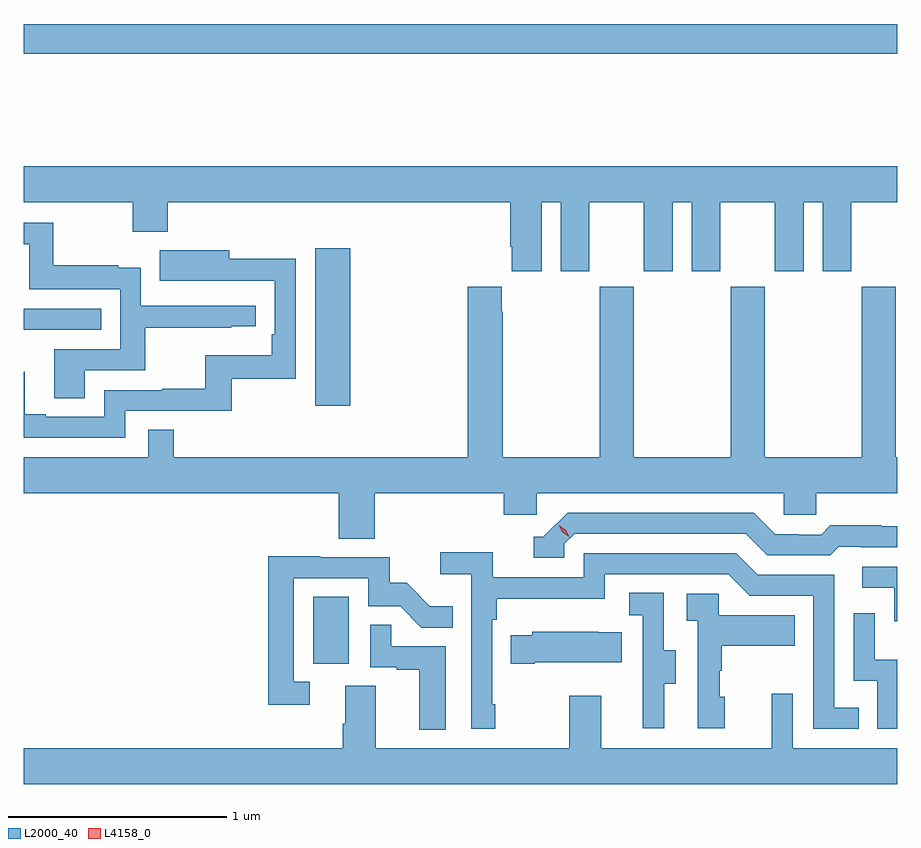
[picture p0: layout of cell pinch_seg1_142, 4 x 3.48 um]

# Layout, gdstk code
import gdstk
lib = gdstk.Library(unit=1e-6, precision=1e-09)
def R(c, l, rs):  # rectangles x0, y0, x1, y1
    for r in rs: c.add(gdstk.rectangle(r[:2], r[2:], *l))
def P(c, l, *ps):  # polygons
    for p in ps: c.add(gdstk.Polygon(p, *l))
L2000_40 = (2000, 40)
L4158_0 = (4158, 0)

pinch_seg1_142 = lib.new_cell('pinch_seg1_142')
R(pinch_seg1_142, L2000_40, [(1120.142,561.606,1120.306,561.913), (1120.151,562.788,1120.312,563.509), (1118.817,563.136,1119.173,563.232), (1118.817,564.4,1122.817,564.536)])
P(pinch_seg1_142, L2000_40, [(1121.188,563.72),(1121.276,563.72),(1121.276,563.403),(1121.407,563.403),(1121.407,563.72),(1121.657,563.72),(1121.657,563.403),(1121.788,563.403),(1121.788,563.72),(1121.876,563.72),(1121.876,563.403),(1122.007,563.403),(1122.007,563.72),(1122.257,563.72),(1122.257,563.403),(1122.388,563.403),(1122.388,563.72),(1122.476,563.72),(1122.476,563.403),(1122.607,563.403),(1122.607,563.72),(1122.817,563.72),(1122.817,563.884),(1118.817,563.884),(1118.817,563.72),(1119.316,563.72),(1119.316,563.585),(1119.476,563.585),(1119.476,563.72),(1121.045,563.72),(1121.045,563.515),(1121.051,563.515),(1121.051,563.403),(1121.188,563.403)],
  [(1119.097,562.95),(1119.374,562.95),(1119.374,563.146),(1119.767,563.146),(1119.767,563.151),(1119.88,563.151),(1119.88,563.247),(1119.354,563.247),(1119.354,563.419),(1119.251,563.419),(1119.251,563.431),(1118.953,563.431),(1118.953,563.625),(1118.817,563.625),(1118.817,563.528),(1118.842,563.528),(1118.842,563.322),(1119.258,563.322),(1119.258,563.046),(1118.957,563.046),(1118.957,562.822),(1119.097,562.822)],
  [(1119.282,562.764),(1119.769,562.764),(1119.769,562.911),(1120.062,562.911),(1120.062,563.462),(1119.757,563.462),(1119.757,563.5),(1119.439,563.5),(1119.439,563.36),(1119.653,563.36),(1119.653,563.361),(1119.966,563.361),(1119.966,563.116),(1119.953,563.116),(1119.953,563.02),(1119.648,563.02),(1119.648,562.865),(1119.451,562.865),(1119.451,562.86),(1119.186,562.86),(1119.186,562.737),(1118.917,562.737),(1118.917,562.75),(1118.821,562.75),(1118.821,562.943),(1118.817,562.943),(1118.817,562.641),(1119.282,562.641)],
  [(1120.424,562.388),(1121.015,562.388),(1121.015,562.29),(1121.166,562.29),(1121.166,562.388),(1122.297,562.388),(1122.297,562.29),(1122.447,562.29),(1122.447,562.388),(1122.817,562.388),(1122.817,562.552),(1122.81,562.552),(1122.81,563.332),(1122.655,563.332),(1122.655,562.552),(1122.21,562.552),(1122.21,563.332),(1122.055,563.332),(1122.055,562.552),(1121.61,562.552),(1121.61,563.332),(1121.455,563.332),(1121.455,562.552),(1121.01,562.552),(1121.01,563.219),(1121.005,563.219),(1121.005,563.332),(1120.85,563.332),(1120.85,562.552),(1119.503,562.552),(1119.503,562.679),(1119.387,562.679),(1119.387,562.552),(1118.817,562.552),(1118.817,562.388),(1120.259,562.388),(1120.259,562.18),(1120.424,562.18)],
  [(1121.292,562.155),(1121.34,562.203),(1122.123,562.203),(1122.222,562.104),(1122.511,562.104),(1122.55,562.143),(1122.649,562.143),(1122.649,562.14),(1122.817,562.14),(1122.817,562.237),(1122.744,562.237),(1122.744,562.24),(1122.511,562.24),(1122.469,562.197),(1122.366,562.197),(1122.366,562.2),(1122.259,562.2),(1122.16,562.299),(1121.307,562.299),(1121.196,562.188),(1121.153,562.188),(1121.153,562.092),(1121.292,562.092)],
  [(1120.975,561.421),(1120.962,561.421),(1120.962,561.809),(1120.982,561.809),(1120.982,561.905),(1121.478,561.905),(1121.478,562.017),(1122.042,562.017),(1122.141,561.918),(1122.432,561.918),(1122.432,561.309),(1122.641,561.309),(1122.641,561.405),(1122.528,561.405),(1122.528,562.014),(1122.178,562.014),(1122.079,562.113),(1121.382,562.113),(1121.382,562.002),(1120.964,562.002),(1120.964,562.118),(1120.725,562.118),(1120.725,562.016),(1120.866,562.016),(1120.866,561.309),(1120.975,561.309)],
  [(1120.126,561.525),(1120.053,561.525),(1120.053,561.999),(1120.395,561.999),(1120.395,561.87),(1120.54,561.87),(1120.638,561.772),(1120.781,561.772),(1120.781,561.871),(1120.677,561.871),(1120.57,561.978),(1120.494,561.978),(1120.494,562.095),(1120.175,562.095),(1120.175,562.1),(1119.937,562.1),(1119.937,561.42),(1120.126,561.42)],
  [(1122.817,562.05),(1122.657,562.05),(1122.657,561.954),(1122.804,561.954),(1122.804,561.801),(1122.817,561.801)],
  [(1121.749,561.514),(1121.803,561.514),(1121.803,561.669),(1121.748,561.669),(1121.748,561.932),(1121.589,561.932),(1121.589,561.829),(1121.652,561.829),(1121.652,561.525),(1121.651,561.525),(1121.651,561.312),(1121.749,561.312)],
  [(1122.028,561.456),(1122.003,561.456),(1122.003,561.575),(1122.013,561.575),(1122.013,561.689),(1122.347,561.689),(1122.347,561.829),(1122,561.829),(1122,561.927),(1121.853,561.927),(1121.853,561.803),(1121.904,561.803),(1121.904,561.312),(1122.028,561.312)],
  [(1122.817,561.626),(1122.714,561.626),(1122.714,561.838),(1122.618,561.838),(1122.618,561.528),(1122.726,561.528),(1122.726,561.309),(1122.817,561.309)],
  [(1120.75,561.687),(1120.499,561.687),(1120.499,561.785),(1120.404,561.785),(1120.404,561.591),(1120.525,561.591),(1120.525,561.579),(1120.628,561.579),(1120.628,561.305),(1120.75,561.305)],
  [(1121.158,561.614),(1121.555,561.614),(1121.555,561.751),(1121.447,561.751),(1121.447,561.754),(1121.145,561.754),(1121.145,561.736),(1121.047,561.736),(1121.047,561.607),(1121.158,561.607)],
  [(1122.817,561.22),(1122.339,561.22),(1122.339,561.469),(1122.242,561.469),(1122.242,561.22),(1121.461,561.22),(1121.461,561.46),(1121.314,561.46),(1121.314,561.22),(1120.429,561.22),(1120.429,561.506),(1120.289,561.506),(1120.289,561.332),(1120.277,561.332),(1120.277,561.22),(1118.817,561.22),(1118.817,561.056),(1122.817,561.056)])
P(pinch_seg1_142, L4158_0, [(1121.316,562.188),(1121.284,562.208),(1121.268,562.24),(1121.268,562.241),(1121.268,562.241),(1121.299,562.221),(1121.316,562.188),(1121.316,562.188)])

lib.write_gds('pinch_seg1_142.gds')
